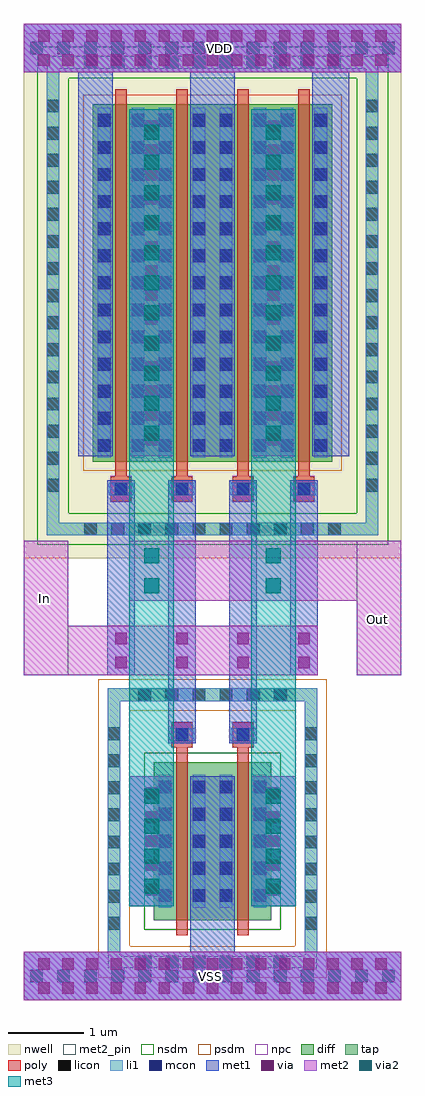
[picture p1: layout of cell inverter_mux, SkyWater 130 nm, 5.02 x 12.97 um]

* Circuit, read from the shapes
.subckt inverter_mux In Out VDD VSS
XM1 VSS In Out VSS sky130_fd_pr__nfet_01v8 w=2.1 l=0.15 m=2
XM2 Out In VDD VDD sky130_fd_pr__pfet_01v8 w=4.75 l=0.15 m=4
.ends

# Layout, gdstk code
import gdstk
lib = gdstk.Library(unit=1e-6, precision=1e-09)
def R(c, l, rs):  # rectangles x0, y0, x1, y1
    for r in rs: c.add(gdstk.rectangle(r[:2], r[2:], *l))
def A(c, l, x, y, w, h, nx, ny, dx, dy):  # array of equal rectangles
    R(c, l, [(x+i*dx, y+j*dy, x+i*dx+w, y+j*dy+h) for i in range(nx) for j in range(ny)])
nwell = (64, 20)
diff = (65, 20)
tap = (65, 44)
poly = (66, 20)
licon = (66, 44)
li1 = (67, 20)
mcon = (67, 44)
met1 = (68, 20)
via = (68, 44)
met2_pin = (69, 16)
met2 = (69, 20)
via2 = (69, 44)
met3 = (70, 20)
nsdm = (93, 44)
psdm = (94, 20)
npc = (95, 20)

inverter_mux = lib.new_cell('inverter_mux')
A(inverter_mux, nwell, 5.04, 1.3, 1.36, 5.85, 4, 1, 0.81, 0)
R(inverter_mux, nwell, [(4.425,0.735,8.965,7.715), (8.965,0.735,9.445,7.715)])
A(inverter_mux, diff, 5.345, 2.02, 0.75, 4.75, 4, 1, 0.81, 0)
A(inverter_mux, diff, 6.095, 2.02, 0.155, 4.75, 3, 1, 0.81, 0)
R(inverter_mux, diff, [(6.155,-4.075,6.905,-1.975), (6.905,-4.075,6.965,-1.975), (6.965,-4.075,7.715,-1.975)])
R(inverter_mux, tap, [(5.54,-4.715,5.71,-0.995), (5.71,-4.715,8.16,-4.545), (8.16,-4.715,8.33,-0.995), (5.71,-1.165,8.16,-0.995), (4.73,1.04,8.97,1.21), (4.73,1.04,4.9,7.24), (4.9,1.04,8.49,1.21), (8.97,1.04,9.14,7.24), (4.73,7.24,9.14,7.41)])
A(inverter_mux, poly, 5.585, 1.49, 0.27, 0.33, 4, 1, 0.81, 0)
A(inverter_mux, poly, 5.645, 1.82, 0.15, 5.15, 4, 1, 0.81, 0)
R(inverter_mux, poly, [(6.455,-4.275,6.605,-1.775), (7.265,-4.275,7.415,-1.775), (6.395,-1.775,6.665,-1.445), (7.205,-1.775,7.475,-1.445)])
A(inverter_mux, licon, 5.95, -4.715, 0.17, 0.17, 6, 2, 0.36, 3.55)
A(inverter_mux, licon, 5.54, -4.2, 0.17, 0.17, 1, 8, 0, 0.36)
A(inverter_mux, licon, 8.16, -4.2, 0.17, 0.17, 1, 8, 0, 0.36)
A(inverter_mux, licon, 6.22, -3.83, 0.17, 0.17, 1, 5, 0, 0.36)
A(inverter_mux, licon, 6.67, -3.83, 0.17, 0.17, 1, 5, 0, 0.36)
A(inverter_mux, licon, 7.03, -3.83, 0.17, 0.17, 1, 5, 0, 0.36)
A(inverter_mux, licon, 7.48, -3.83, 0.17, 0.17, 1, 5, 0, 0.36)
A(inverter_mux, licon, 5.23, 1.04, 0.17, 0.17, 10, 2, 0.36, 6.2)
A(inverter_mux, licon, 5.635, 1.57, 0.17, 0.17, 4, 1, 0.81, 0)
A(inverter_mux, licon, 4.73, 1.62, 0.17, 0.17, 1, 15, 0, 0.36)
A(inverter_mux, licon, 8.97, 1.62, 0.17, 0.17, 1, 15, 0, 0.36)
A(inverter_mux, licon, 5.41, 2.15, 0.17, 0.17, 1, 13, 0, 0.36)
A(inverter_mux, licon, 5.86, 2.15, 0.17, 0.17, 1, 13, 0, 0.36)
A(inverter_mux, licon, 6.22, 2.15, 0.17, 0.17, 1, 13, 0, 0.36)
A(inverter_mux, licon, 6.67, 2.15, 0.17, 0.17, 1, 13, 0, 0.36)
A(inverter_mux, licon, 7.03, 2.15, 0.17, 0.17, 1, 13, 0, 0.36)
A(inverter_mux, licon, 7.48, 2.15, 0.17, 0.17, 1, 13, 0, 0.36)
A(inverter_mux, licon, 7.84, 2.15, 0.17, 0.17, 1, 13, 0, 0.36)
A(inverter_mux, licon, 8.29, 2.15, 0.17, 0.17, 1, 13, 0, 0.36)
R(inverter_mux, licon, [(6.445,-1.695,6.615,-1.525), (7.255,-1.695,7.425,-1.525)])
A(inverter_mux, li1, 5.555, 1.57, 0.33, 0.17, 4, 1, 0.81, 0)
R(inverter_mux, li1, [(4.425,-5.135,9.445,-4.495), (5.54,-4.715,5.71,-0.995), (5.71,-4.715,8.16,-4.545), (8.16,-4.715,8.33,-0.995), (6.22,-3.91,6.39,-2.14), (6.67,-3.91,6.84,-2.14), (7.03,-3.91,7.2,-2.14), (7.48,-3.91,7.65,-2.14), (6.365,-1.695,6.695,-1.525), (7.175,-1.695,7.505,-1.525), (5.71,-1.165,8.16,-0.995), (4.73,1.04,8.97,1.21), (4.73,1.04,4.9,7.24), (8.97,1.04,9.14,7.24), (5.41,2.07,5.58,6.72), (5.86,2.07,6.03,6.72), (6.22,2.07,6.39,6.72), (6.67,2.07,6.84,6.72), (7.03,2.07,7.2,6.72), (7.48,2.07,7.65,6.72), (7.84,2.07,8.01,6.72), (8.29,2.07,8.46,6.72), (4.425,7.195,9.445,7.835), (4.73,7.24,9.14,7.41)])
A(inverter_mux, mcon, 4.51, -4.9, 0.17, 0.17, 14, 2, 0.36, 12.33)
A(inverter_mux, mcon, 6.22, -3.83, 0.17, 0.17, 1, 5, 0, 0.36)
A(inverter_mux, mcon, 6.67, -3.83, 0.17, 0.17, 1, 5, 0, 0.36)
A(inverter_mux, mcon, 7.03, -3.83, 0.17, 0.17, 1, 5, 0, 0.36)
A(inverter_mux, mcon, 7.48, -3.83, 0.17, 0.17, 1, 5, 0, 0.36)
A(inverter_mux, mcon, 5.635, 1.57, 0.17, 0.17, 4, 1, 0.81, 0)
A(inverter_mux, mcon, 5.41, 2.15, 0.17, 0.17, 1, 13, 0, 0.36)
A(inverter_mux, mcon, 5.86, 2.15, 0.17, 0.17, 1, 13, 0, 0.36)
A(inverter_mux, mcon, 6.22, 2.15, 0.17, 0.17, 1, 13, 0, 0.36)
A(inverter_mux, mcon, 6.67, 2.15, 0.17, 0.17, 1, 13, 0, 0.36)
A(inverter_mux, mcon, 7.03, 2.15, 0.17, 0.17, 1, 13, 0, 0.36)
A(inverter_mux, mcon, 7.48, 2.15, 0.17, 0.17, 1, 13, 0, 0.36)
A(inverter_mux, mcon, 7.84, 2.15, 0.17, 0.17, 1, 13, 0, 0.36)
A(inverter_mux, mcon, 8.29, 2.15, 0.17, 0.17, 1, 13, 0, 0.36)
R(inverter_mux, mcon, [(6.445,-1.695,6.615,-1.525), (7.255,-1.695,7.425,-1.525)])
A(inverter_mux, met1, 5.535, -0.82, 0.37, 0.66, 4, 1, 0.81, 0)
A(inverter_mux, met1, 5.535, -0.16, 0.37, 1.7, 4, 1, 0.81, 0)
A(inverter_mux, met1, 5.535, 1.54, 0.37, 0.23, 4, 1, 0.81, 0)
A(inverter_mux, met1, 6.06, 2.09, 0.13, 4.61, 3, 1, 0.81, 0)
R(inverter_mux, met1, [(4.425,-5.135,9.445,-4.495), (6.64,-4.495,7.23,-3.89), (5.83,-3.89,6.42,-2.16), (6.19,-3.89,6.42,-2.16), (6.64,-3.89,6.87,-2.16), (6.87,-3.89,7,-2.16), (7,-3.89,7.23,-2.16), (7.45,-3.89,7.68,-2.16), (7.45,-3.89,8.04,-2.16), (6.345,-1.725,6.715,-1.495), (7.155,-1.725,7.525,-1.495), (6.345,-1.495,6.715,-0.49), (7.155,-1.495,7.525,-0.49), (5.15,2.09,5.61,7.195), (5.38,2.09,5.61,6.7), (5.83,2.09,6.42,6.7), (5.83,2.09,6.06,6.7), (6.19,2.09,6.42,6.7), (6.64,2.09,6.87,6.7), (7,2.09,7.23,6.7), (7.45,2.09,8.04,6.7), (7.45,2.09,7.68,6.7), (7.81,2.09,8.04,6.7), (8.26,2.09,8.49,6.7), (8.26,2.09,8.75,7.195), (6.64,6.7,7.23,7.195), (4.425,7.195,9.445,7.835)])
A(inverter_mux, via, 4.62, -5.05, 0.15, 0.15, 15, 2, 0.32, 0.32)
A(inverter_mux, via, 6.05, -3.74, 0.15, 0.15, 1, 5, 0, 0.32)
A(inverter_mux, via, 7.67, -3.74, 0.15, 0.15, 1, 5, 0, 0.32)
A(inverter_mux, via, 5.645, -0.725, 0.15, 0.15, 4, 2, 0.81, 0.32)
A(inverter_mux, via, 6.05, 2.24, 0.15, 0.15, 1, 14, 0, 0.32)
A(inverter_mux, via, 7.67, 2.24, 0.15, 0.15, 1, 14, 0, 0.32)
A(inverter_mux, via, 4.62, 7.28, 0.15, 0.15, 15, 2, 0.32, 0.32)
R(inverter_mux, met2_pin, [(4.425,-5.135,9.445,-4.495), (4.425,-0.82,5.015,0.97), (8.855,-0.82,9.445,0.97), (4.425,7.195,9.445,7.835)])
A(inverter_mux, met2, 5.535, -0.82, 0.37, 0.66, 4, 1, 0.81, 0)
R(inverter_mux, met2, [(4.425,-5.135,9.445,-4.495), (4.425,-5.135,9.445,-4.495), (5.83,-3.89,6.42,-2.16), (7.45,-3.89,8.04,-2.16), (4.425,-0.82,8.335,-0.16), (8.855,-0.82,9.445,0.17), (4.425,-0.16,5.015,0.97), (5.83,0.17,6.42,0.97), (5.83,0.17,9.445,0.97), (7.45,0.17,8.04,0.97), (5.83,2.09,6.42,6.7), (7.45,2.09,8.04,6.7), (4.425,7.195,9.445,7.835), (4.425,7.195,9.445,7.835)])
A(inverter_mux, via2, 6.025, -3.725, 0.2, 0.2, 1, 4, 0, 0.4)
A(inverter_mux, via2, 7.645, -3.725, 0.2, 0.2, 1, 4, 0, 0.4)
A(inverter_mux, via2, 6.025, 2.295, 0.2, 0.2, 1, 11, 0, 0.4)
A(inverter_mux, via2, 7.645, 2.295, 0.2, 0.2, 1, 11, 0, 0.4)
R(inverter_mux, via2, [(6.025,0.27,6.225,0.47), (7.645,0.27,7.845,0.47), (6.025,0.67,6.225,0.87), (7.645,0.67,7.845,0.87)])
R(inverter_mux, met3, [(5.83,-3.89,6.42,-2.16), (7.45,-3.89,8.04,-2.16), (5.83,-2.16,6.42,0.17), (7.45,-2.16,8.04,0.17), (5.83,0.17,6.42,0.97), (7.45,0.17,8.04,0.97), (5.83,0.97,6.42,2.09), (7.45,0.97,8.04,2.09), (5.83,2.09,6.42,6.7), (7.45,2.09,8.04,6.7)])
R(inverter_mux, nsdm, [(6.03,-4.2,7.03,-1.85), (6.84,-4.2,7.84,-1.85), (4.605,0.915,9.27,1.335), (4.605,1.335,5.025,7.115), (8.85,1.335,9.27,7.115), (4.605,7.115,9.27,7.535)])
A(inverter_mux, psdm, 5.22, 1.895, 1, 5, 4, 1, 0.81, 0)
R(inverter_mux, psdm, [(5.415,-4.84,5.835,-0.87), (5.835,-4.84,8.035,-4.42), (8.035,-4.84,8.455,-0.87), (5.835,-1.29,8.035,-0.87)])
A(inverter_mux, npc, 5.575, 1.48, 0.29, 0.35, 4, 1, 0.81, 0)
R(inverter_mux, npc, [(6.385,-1.785,6.675,-1.435), (7.195,-1.785,7.485,-1.435)])
inverter_mux.add(gdstk.Label('VSS', (6.915,-4.82), layer=69, texttype=5))
inverter_mux.add(gdstk.Label('VDD', (7.03,7.51), layer=69, texttype=5))
inverter_mux.add(gdstk.Label('In', (4.705,0.195), layer=69, texttype=5))
inverter_mux.add(gdstk.Label('Out', (9.13,-0.08), layer=69, texttype=5))

lib.write_gds('inverter_mux.gds')
